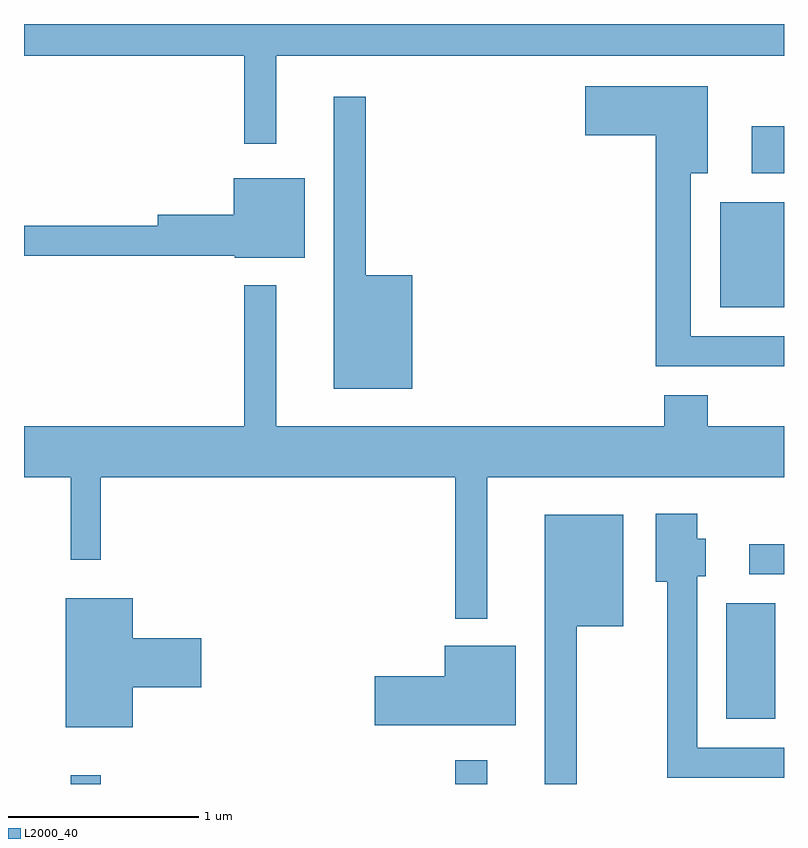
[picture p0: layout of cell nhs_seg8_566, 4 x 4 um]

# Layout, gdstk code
import gdstk
lib = gdstk.Library(unit=1e-6, precision=1e-09)
def R(c, l, rs):  # rectangles x0, y0, x1, y1
    for r in rs: c.add(gdstk.rectangle(r[:2], r[2:], *l))
def P(c, l, *ps):  # polygons
    for p in ps: c.add(gdstk.Polygon(p, *l))
L2000_40 = (2000, 40)

nhs_seg8_566 = lib.new_cell('nhs_seg8_566')
R(nhs_seg8_566, L2000_40, [(201.856,1850.342,202.014,1850.388), (203.881,1850.342,204.049,1850.468), (205.306,1850.686,205.564,1851.294), (205.428,1851.446,205.611,1851.604), (205.276,1852.851,205.611,1853.404), (205.441,1853.556,205.611,1853.804)])
P(nhs_seg8_566, L2000_40, [(202.939,1854.176),(205.611,1854.176),(205.611,1854.342),(201.611,1854.342),(201.611,1854.176),(202.771,1854.176),(202.771,1853.713),(202.939,1853.713)],
  [(205.611,1852.699),(205.119,1852.699),(205.119,1853.556),(205.209,1853.556),(205.209,1854.014),(204.566,1854.014),(204.566,1853.756),(204.936,1853.756),(204.936,1852.541),(205.611,1852.541)],
  [(203.654,1853.019),(203.409,1853.019),(203.409,1853.958),(203.241,1853.958),(203.241,1852.421),(203.654,1852.421)],
  [(203.089,1853.529),(202.716,1853.529),(202.716,1853.339),(202.316,1853.339),(202.316,1853.279),(201.611,1853.279),(201.611,1853.121),(202.72,1853.121),(202.72,1853.111),(203.089,1853.111)],
  [(204.049,1851.956),(205.611,1851.956),(205.611,1852.224),(205.209,1852.224),(205.209,1852.389),(204.981,1852.389),(204.981,1852.224),(202.939,1852.224),(202.939,1852.968),(202.771,1852.968),(202.771,1852.224),(201.611,1852.224),(201.611,1851.956),(201.856,1851.956),(201.856,1851.523),(202.014,1851.523),(202.014,1851.956),(203.881,1851.956),(203.881,1851.213),(204.049,1851.213)],
  [(205.611,1850.534),(205.154,1850.534),(205.154,1851.436),(205.199,1851.436),(205.199,1851.634),(205.154,1851.634),(205.154,1851.764),(204.936,1851.764),(204.936,1851.406),(204.996,1851.406),(204.996,1850.376),(205.611,1850.376)],
  [(204.519,1851.171),(204.764,1851.171),(204.764,1851.759),(204.351,1851.759),(204.351,1850.342),(204.519,1850.342)],
  [(202.184,1850.851),(202.544,1850.851),(202.544,1851.109),(202.184,1851.109),(202.184,1851.319),(201.831,1851.319),(201.831,1850.641),(202.184,1850.641)],
  [(204.199,1851.069),(203.826,1851.069),(203.826,1850.909),(203.456,1850.909),(203.456,1850.651),(204.199,1850.651)])

lib.write_gds('nhs_seg8_566.gds')
